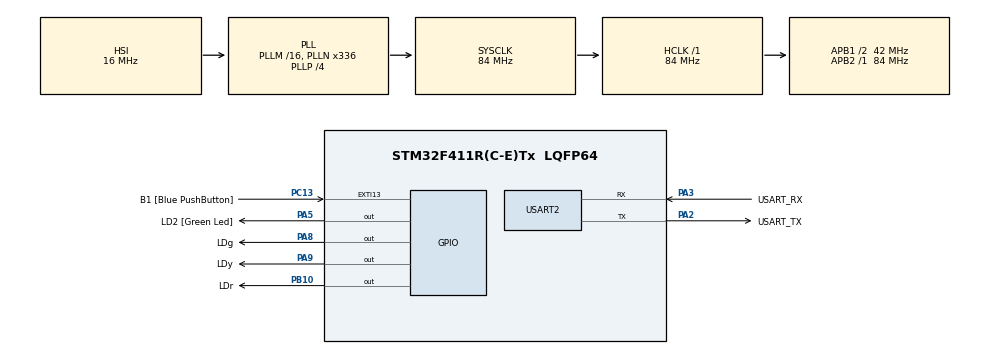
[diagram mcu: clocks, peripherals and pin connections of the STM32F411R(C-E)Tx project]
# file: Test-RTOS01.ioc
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Dma.Request0=USART2_RX
Dma.USART2_RX.0.Direction=DMA_PERIPH_TO_MEMORY
Dma.USART2_RX.0.FIFOMode=DMA_FIFOMODE_DISABLE
Dma.USART2_RX.0.Instance=DMA1_Stream5
Dma.USART2_RX.0.MemDataAlignment=DMA_MDATAALIGN_BYTE
Dma.USART2_RX.0.MemInc=DMA_MINC_ENABLE
Dma.USART2_RX.0.Mode=DMA_CIRCULAR
Dma.USART2_RX.0.PeriphDataAlignment=DMA_PDATAALIGN_BYTE
Dma.USART2_RX.0.PeriphInc=DMA_PINC_DISABLE
Dma.USART2_RX.0.Priority=DMA_PRIORITY_LOW
FREERTOS.Tasks01=defaultTask,0,128,StartDefaultTask,Default,NULL,Dynamic,NULL,NULL;Task_LDr,-3,128,Task_LDr_F,Default,NULL,Dynamic,NULL,NULL;Task_LDg,-3,128,Task_LDg_F,Default,NULL,Dynamic,NULL,NULL;Task_LDy,-3,128,Task_LDy_F,Default,NULL,Dynamic,NULL,NULL
FREERTOS.configUSE_NEWLIB_REENTRANT=1
Mcu.Family=STM32F4
Mcu.Name=STM32F411R(C-E)Tx
Mcu.Package=LQFP64
NVIC.DMA1_Stream5_IRQn=true\:5\:0\:false\:false\:true\:true\:false\:true\:true
NVIC.PriorityGroup=NVIC_PRIORITYGROUP_4
NVIC.TIM3_IRQn=true\:15\:0\:false\:false\:true\:false\:false\:true\:true
NVIC.TimeBase=TIM3_IRQn
NVIC.TimeBaseIP=TIM3
PA13.GPIO_Label=TMS
PA13.Mode=Serial_Wire
PA13.Signal=SYS_JTMS-SWDIO
PA14.GPIO_Label=TCK
PA14.Mode=Serial_Wire
PA14.Signal=SYS_JTCK-SWCLK
PA2.GPIO_Label=USART_TX
PA2.Mode=Asynchronous
PA2.Signal=USART2_TX
PA3.GPIO_Label=USART_RX
PA3.Mode=Asynchronous
PA3.Signal=USART2_RX
PA5.GPIO_Label=LD2 [Green Led]
PA5.Signal=GPIO_Output
PA8.GPIO_Label=LDg
PA8.Signal=GPIO_Output
PA9.GPIO_Label=LDy
PA9.Signal=GPIO_Output
PB10.GPIO_Label=LDr
PB10.Signal=GPIO_Output
PB3.GPIO_Label=SWO
PB3.Signal=SYS_JTDO-SWO
PC13-ANTI_TAMP.GPIO_Label=B1 [Blue PushButton]
PC13-ANTI_TAMP.GPIO_ModeDefaultEXTI=GPIO_MODE_IT_FALLING
PC13-ANTI_TAMP.Signal=GPXTI13
PC14-OSC32_IN.Mode=LSE-External-Oscillator
PC14-OSC32_IN.Signal=RCC_OSC32_IN
PC15-OSC32_OUT.Mode=LSE-External-Oscillator
PC15-OSC32_OUT.Signal=RCC_OSC32_OUT
PH0\ -\ OSC_IN.Mode=HSE-External-Clock-Source
PH0\ -\ OSC_IN.Signal=RCC_OSC_IN
PH1\ -\ OSC_OUT.Mode=HSE-External-Clock-Source
PH1\ -\ OSC_OUT.Signal=RCC_OSC_OUT
ProjectManager.HeapSize=0x200
ProjectManager.StackSize=0x400
ProjectManager.TargetToolchain=STM32CubeIDE
RCC.48MHZClocksFreq_Value=84000000
RCC.AHBFreq_Value=84000000
RCC.APB1CLKDivider=RCC_HCLK_DIV2
RCC.APB1Freq_Value=42000000
RCC.APB1TimFreq_Value=84000000
RCC.APB2Freq_Value=84000000
RCC.APB2TimFreq_Value=84000000
RCC.CortexFreq_Value=84000000
RCC.FLatency-AdvancedSettings=FLASH_LATENCY_2
RCC.HCLKFreq_Value=84000000
RCC.HSE_VALUE=8000000
RCC.HSI_VALUE=16000000
RCC.PLLN=336
RCC.PLLP=RCC_PLLP_DIV4
RCC.SYSCLKFreq_VALUE=84000000
RCC.SYSCLKSource=RCC_SYSCLKSOURCE_PLLCLK
RCC.VCOOutputFreq_Value=336000000
USART2.VirtualMode=VM_ASYNC
VP_FREERTOS_VS_CMSIS_V1.Mode=CMSIS_V1
VP_SYS_VS_tim3.Mode=TIM3
board=NUCLEO-F411RE

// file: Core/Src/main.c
/* USER CODE BEGIN Header */
/**
  ******************************************************************************
  * @file           : main.c
  * @brief          : Main program body
  ******************************************************************************
  * @attention
  *
  * Copyright (c) 2023 STMicroelectronics.
  * All rights reserved.
  *
  * This software is licensed under terms that can be found in the LICENSE file
  * in the root directory of this software component.
  * If no LICENSE file comes with this software, it is provided AS-IS.
  *
  ******************************************************************************
  */
/* USER CODE END Header */
#include "main.h"
#include "cmsis_os.h"

UART_HandleTypeDef huart2;
DMA_HandleTypeDef hdma_usart2_rx;

osThreadId defaultTaskHandle;
osThreadId Task_LDrHandle;
osThreadId Task_LDgHandle;
osThreadId Task_LDyHandle;
/* USER CODE BEGIN PV */

char rxbuf[100];
int cMode = 4;	// LED control : 1,2,3 (RGY) 4(All)

/* USER CODE END PV */

void SystemClock_Config(void);
static void MX_GPIO_Init(void);
static void MX_DMA_Init(void);
static void MX_USART2_UART_Init(void);
void StartDefaultTask(void const * argument);
void Task_LDr_F(void const * argument);
void Task_LDg_F(void const * argument);
void Task_LDy_F(void const * argument);

/* USER CODE BEGIN 0 */
int __io_putchar(int ch)
{
	HAL_UART_Transmit(&huart2, &ch, 1, 10);
	return ch;
}

int __io_getchar(void)
{
	char ch;
	while(1)
	{
		if(HAL_UART_Receive(&huart2, &ch, 1, 10) == HAL_OK) break;
	}
	if(ch == '\b' || ch == 0x7f)
	{
		HAL_UART_Transmit(&huart2, "\b \b", 3, 10);
	}
	else if(ch == '\n')
	{
		HAL_UART_Transmit(&huart2, "\r\n", 2, 10);
	}
	else HAL_UART_Transmit(&huart2, &ch, 1, 10);
	return ch;
}

/* USER CODE END 0 */

int main(void)
{

  /* MCU Configuration--------------------------------------------------------*/

  /* Reset of all peripherals, Initializes the Flash interface and the Systick. */
  HAL_Init();

  /* Configure the system clock */
  SystemClock_Config();

  /* Initialize all configured peripherals */
  MX_GPIO_Init();
  MX_DMA_Init();
  MX_USART2_UART_Init();
  /* USER CODE BEGIN 2 */
  HAL_UART_Receive_DMA(&huart2, rxbuf, 1);
  /* USER CODE END 2 */

  /* Create the thread(s) */
  /* definition and creation of defaultTask */
  osThreadDef(defaultTask, StartDefaultTask, osPriorityNormal, 0, 128);
  defaultTaskHandle = osThreadCreate(osThread(defaultTask), NULL);

  /* definition and creation of Task_LDr */
  osThreadDef(Task_LDr, Task_LDr_F, osPriorityIdle, 0, 128);
  Task_LDrHandle = osThreadCreate(osThread(Task_LDr), NULL);

  /* definition and creation of Task_LDg */
  osThreadDef(Task_LDg, Task_LDg_F, osPriorityIdle, 0, 128);
  Task_LDgHandle = osThreadCreate(osThread(Task_LDg), NULL);

  /* definition and creation of Task_LDy */
  osThreadDef(Task_LDy, Task_LDy_F, osPriorityIdle, 0, 128);
  Task_LDyHandle = osThreadCreate(osThread(Task_LDy), NULL);

  /* Start scheduler */
  osKernelStart();

  /* We should never get here as control is now taken by the scheduler */
  /* Infinite loop */
  while (1)
  {

    /* USER CODE BEGIN 3 */
	HAL_GPIO_TogglePin(LD2_GPIO_Port, LD2_Pin);
  }
  /* USER CODE END 3 */
}

void SystemClock_Config(void)
{
  RCC_OscInitTypeDef RCC_OscInitStruct = {0};
  RCC_ClkInitTypeDef RCC_ClkInitStruct = {0};

  /** Configure the main internal regulator output voltage
  */
  __HAL_RCC_PWR_CLK_ENABLE();
  __HAL_PWR_VOLTAGESCALING_CONFIG(PWR_REGULATOR_VOLTAGE_SCALE1);

  /** Initializes the RCC Oscillators according to the specified parameters
  * in the RCC_OscInitTypeDef structure.
  */
  RCC_OscInitStruct.OscillatorType = RCC_OSCILLATORTYPE_HSI;
  RCC_OscInitStruct.HSIState = RCC_HSI_ON;
  RCC_OscInitStruct.HSICalibrationValue = RCC_HSICALIBRATION_DEFAULT;
  RCC_OscInitStruct.PLL.PLLState = RCC_PLL_ON;
  RCC_OscInitStruct.PLL.PLLSource = RCC_PLLSOURCE_HSI;
  RCC_OscInitStruct.PLL.PLLM = 16;
  RCC_OscInitStruct.PLL.PLLN = 336;
  RCC_OscInitStruct.PLL.PLLP = RCC_PLLP_DIV4;
  RCC_OscInitStruct.PLL.PLLQ = 4;
  if (HAL_RCC_OscConfig(&RCC_OscInitStruct) != HAL_OK)
  {
    Error_Handler();
  }

  /** Initializes the CPU, AHB and APB buses clocks
  */
  RCC_ClkInitStruct.ClockType = RCC_CLOCKTYPE_HCLK|RCC_CLOCKTYPE_SYSCLK
                              |RCC_CLOCKTYPE_PCLK1|RCC_CLOCKTYPE_PCLK2;
  RCC_ClkInitStruct.SYSCLKSource = RCC_SYSCLKSOURCE_PLLCLK;
  RCC_ClkInitStruct.AHBCLKDivider = RCC_SYSCLK_DIV1;
  RCC_ClkInitStruct.APB1CLKDivider = RCC_HCLK_DIV2;
  RCC_ClkInitStruct.APB2CLKDivider = RCC_HCLK_DIV1;

  if (HAL_RCC_ClockConfig(&RCC_ClkInitStruct, FLASH_LATENCY_2) != HAL_OK)
  {
    Error_Handler();
  }
}

static void MX_USART2_UART_Init(void)
{

  huart2.Instance = USART2;
  huart2.Init.BaudRate = 115200;
  huart2.Init.WordLength = UART_WORDLENGTH_8B;
  huart2.Init.StopBits = UART_STOPBITS_1;
  huart2.Init.Parity = UART_PARITY_NONE;
  huart2.Init.Mode = UART_MODE_TX_RX;
  huart2.Init.HwFlowCtl = UART_HWCONTROL_NONE;
  huart2.Init.OverSampling = UART_OVERSAMPLING_16;
  if (HAL_UART_Init(&huart2) != HAL_OK)
  {
    Error_Handler();
  }

}

static void MX_DMA_Init(void)
{

  /* DMA controller clock enable */
  __HAL_RCC_DMA1_CLK_ENABLE();

  /* DMA interrupt init */
  /* DMA1_Stream5_IRQn interrupt configuration */
  HAL_NVIC_SetPriority(DMA1_Stream5_IRQn, 5, 0);
  HAL_NVIC_EnableIRQ(DMA1_Stream5_IRQn);

}

static void MX_GPIO_Init(void)
{
  GPIO_InitTypeDef GPIO_InitStruct = {0};

  /* GPIO Ports Clock Enable */
  __HAL_RCC_GPIOC_CLK_ENABLE();
  __HAL_RCC_GPIOH_CLK_ENABLE();
  __HAL_RCC_GPIOA_CLK_ENABLE();
  __HAL_RCC_GPIOB_CLK_ENABLE();

  /*Configure GPIO pin Output Level */
  HAL_GPIO_WritePin(GPIOA, LD2_Pin|LDg_Pin|LDy_Pin, GPIO_PIN_RESET);

  /*Configure GPIO pin Output Level */
  HAL_GPIO_WritePin(LDr_GPIO_Port, LDr_Pin, GPIO_PIN_RESET);

  /*Configure GPIO pin : B1_Pin */
  GPIO_InitStruct.Pin = B1_Pin;
  GPIO_InitStruct.Mode = GPIO_MODE_IT_FALLING;
  GPIO_InitStruct.Pull = GPIO_NOPULL;
  HAL_GPIO_Init(B1_GPIO_Port, &GPIO_InitStruct);

  /*Configure GPIO pins : LD2_Pin LDg_Pin LDy_Pin */
  GPIO_InitStruct.Pin = LD2_Pin|LDg_Pin|LDy_Pin;
  GPIO_InitStruct.Mode = GPIO_MODE_OUTPUT_PP;
  GPIO_InitStruct.Pull = GPIO_NOPULL;
  GPIO_InitStruct.Speed = GPIO_SPEED_FREQ_LOW;
  HAL_GPIO_Init(GPIOA, &GPIO_InitStruct);

  /*Configure GPIO pin : LDr_Pin */
  GPIO_InitStruct.Pin = LDr_Pin;
  GPIO_InitStruct.Mode = GPIO_MODE_OUTPUT_PP;
  GPIO_InitStruct.Pull = GPIO_NOPULL;
  GPIO_InitStruct.Speed = GPIO_SPEED_FREQ_LOW;
  HAL_GPIO_Init(LDr_GPIO_Port, &GPIO_InitStruct);

}

/* USER CODE BEGIN 4 */
int state = 0;  // Input status : 0/ready  1/data
/* USER CODE END 4 */

void StartDefaultTask(void const * argument)
{
  /* USER CODE BEGIN 5 */
  /* Infinite loop */
  for(;;)
  {
	  if(state == 0)
	  {
		  printf("\n\n\n\n\rLED control : 1,2,3 (RGY) 4(All)  :\r\n");
		  state = 1;
	  }
	  else if(rxbuf[0] != 0)
	  {
		  cMode = rxbuf[0] - 0x30;
		  rxbuf[0] = 0;
		  state = 0;
	  }
	  //scanf("%d", &cMode);
	  //int a = __io_getchar();
	  osDelay(100);
  }
  /* USER CODE END 5 */
}

void Task_LDr_F(void const * argument)
{
  /* USER CODE BEGIN Task_LDr_F */
  /* Infinite loop */
  for(;;)
  {
	  if(cMode == 1 || cMode == 4) HAL_GPIO_TogglePin(LDr_GPIO_Port, LDr_Pin);
	  osDelay(300);
  }
  /* USER CODE END Task_LDr_F */
}

void Task_LDg_F(void const * argument)
{
  /* USER CODE BEGIN Task_LDg_F */
  /* Infinite loop */
  for(;;)
  {
	  if(cMode == 2 || cMode == 4) HAL_GPIO_TogglePin(LDg_GPIO_Port, LDg_Pin);
	  osDelay(300);
  }
  /* USER CODE END Task_LDg_F */
}

void Task_LDy_F(void const * argument)
{
  /* USER CODE BEGIN Task_LDy_F */
  /* Infinite loop */
  for(;;)
  {
	  if(cMode == 3 || cMode == 4) HAL_GPIO_TogglePin(LDy_GPIO_Port, LDy_Pin);
	  osDelay(300);
  }
  /* USER CODE END Task_LDy_F */
}

void HAL_TIM_PeriodElapsedCallback(TIM_HandleTypeDef *htim)
{
  if (htim->Instance == TIM3) {
    HAL_IncTick();
  }
}

void Error_Handler(void)
{
  __disable_irq();
  while (1)
  {
  }
}
